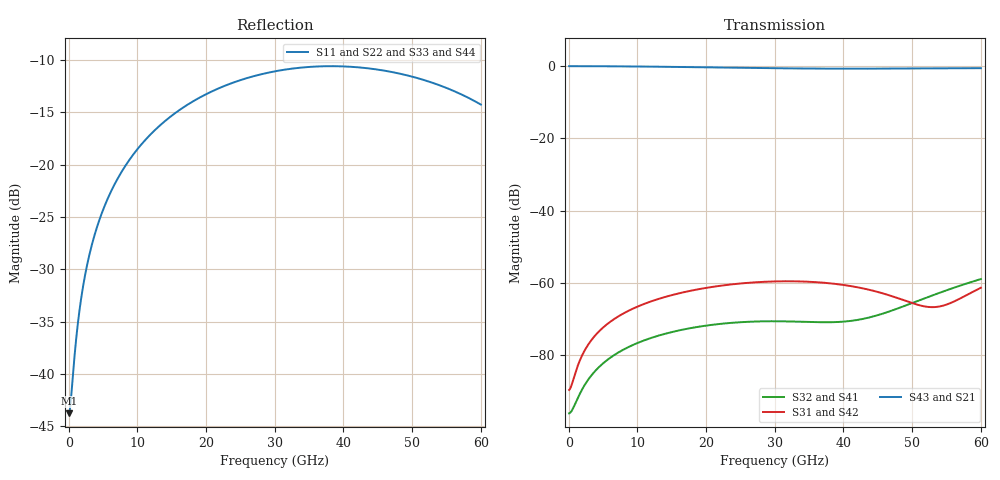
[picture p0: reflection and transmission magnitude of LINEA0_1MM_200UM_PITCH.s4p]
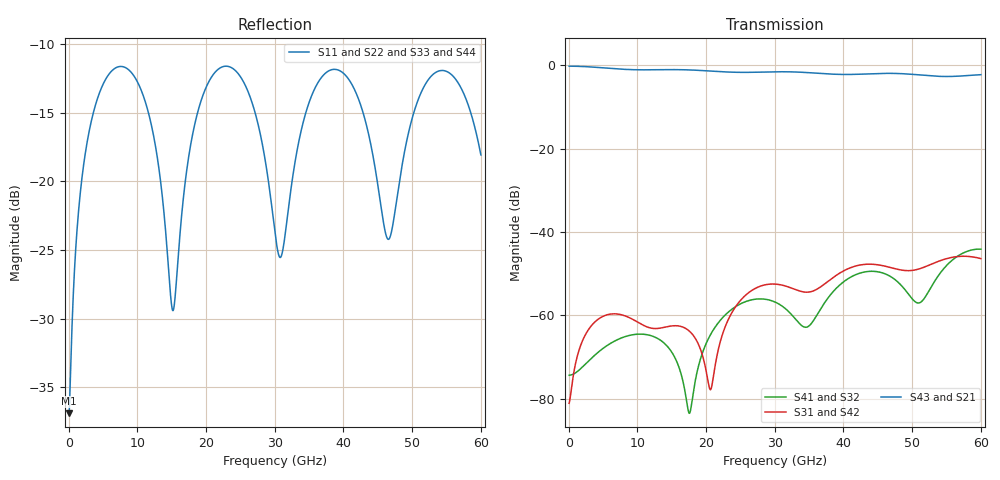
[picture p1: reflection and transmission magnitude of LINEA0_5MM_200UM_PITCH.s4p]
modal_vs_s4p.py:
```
"""FEXT/NEXT from the 30 GHz CST port-mode data (modes 5, 6 = CPW even/odd pair),
compared with the 3-D .s4p files. Assumptions: lossless, n_eff constant vs f,
per-line impedance = 2 x CST Z-line (mode spread over two lines), which of
mode 5/6 is even is unknown (the magnitudes below do not depend on it)."""
import numpy as np, matplotlib; matplotlib.use("Agg"); import matplotlib.pyplot as plt
from first_look_lib import load4
c=299792458; k30=2*np.pi*30e9/c
modes={"5":(1186.97/k30,2*17.3801),"6":(1186.02/k30,2*17.1815)}
def line2(f,n,Z,L,z0=50):
    t=np.exp(-2j*np.pi*f*n*L/c); r=(Z-z0)/(Z+z0)
    d=1-r**2*t**2; return r*(1-t**2)/d, (1-r**2)*t/d     # S11, S21
def xt(f,L,nshift=0.0,sameZ=False):
    (na,Za),(nb,Zb)=modes["5"],modes["6"]
    if sameZ: Za=Zb=(Za+Zb)/2
    s11a,s21a=line2(f,na+nshift,Za,L); s11b,s21b=line2(f,nb+nshift,Zb,L)
    return 0.5*(s11a-s11b), 0.5*(s21a-s21b), 0.5*(s21a+s21b)
db=lambda x:20*np.log10(np.abs(x)+1e-30)
cases=[("LINEA0_1MM_200UM_PITCH.s4p",1e-3),("LINEA0_5MM_200UM_PITCH.s4p",5e-3)]
fig,axs=plt.subplots(2,2,figsize=(12,8),sharex=True)
for j,(fn,L) in enumerate(cases):
    f,S=load4(fn); f=f[1:]; S=S[1:]
    nx,fx,th=xt(f,L); nx2,fx2,_=xt(f,L,sameZ=True)
    for i,(cst,mod,mod2,name) in enumerate([(S[:,2,0],nx,nx2,"NEXT |S31|"),(S[:,3,0],fx,fx2,"FEXT |S41|")]):
        a=axs[i,j]; a.plot(f/1e9,db(cst),"k",lw=2,label="CST 3-D .s4p")
        a.plot(f/1e9,db(mod),"C3",label="modal, CST Z-line difference (1.2 %)")
        a.plot(f/1e9,db(mod2),"C0--",label="modal, equal impedances (index difference only)")
        a.set_title(f"{name}, L = {L*1e3:.0f} mm"); a.set_ylim(-120,-20); a.grid(alpha=.3)
        for g in (10,30,60):
            k=np.argmin(abs(f-g*1e9)); print(f"{L*1e3:.0f}mm {name[:4]} {g}GHz CST {db(cst[k]):6.1f}  modal {db(mod[k]):6.1f}  sameZ {db(mod2[k]):6.1f}")
axs[0,0].legend(fontsize=8); [a.set_xlabel("GHz") for a in axs[1]]
fig.tight_layout(); fig.savefig("modal_vs_s4p.png",dpi=110)
```
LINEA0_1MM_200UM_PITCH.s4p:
! TOUCHSTONE file generated by CST MICROWAVE STUDIO
! Date and time: Wed Oct 14 10:40:22 2026
! Project name: LINEA0_1MM_200UM_PITCH.cst
! Parameters = {CHANNEL_PITCH=0.2; GAP=0.00415; L=1; L1=0.02; L2=0.086; L3=0.066; NCELL=1; PITCH=0.18; START_POSITION=0.08; W1=0.003; W2=0.004; W3=0.009; WG=0.04985; gap_oxr=0.00125; linbo3_thickness=0.0002; mtx=0.002; oxiDinE=0.0014; w=0.15; ws=0.035}
! Header version: 2024
! Port assignment regex: !\s*Touchstone port\s*([0-9]+)\s*=\s*(CST MWS port|CST DES external port|CST DES block port)\s*(.+)\s* \(\"(.*)\"\)(\s*mode\s*([0-9]+))?.*
! Touchstone port assignment:
! Touchstone port 1 = CST MWS port 1 ("")
! Touchstone port 2 = CST MWS port 2 ("")
! Touchstone port 3 = CST MWS port 3 ("")
! Touchstone port 4 = CST MWS port 4 ("")
# GHz S MA R 50
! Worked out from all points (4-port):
!   1000 points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, 60 MHz to 60 GHz, reference 50 ohm
!   strongest paths, dB at 60 MHz, 15.06 GHz, 30.06 GHz, 45.06 GHz, 60 GHz:
!     S43: -0.1, -0.3, -0.6, -0.7, -0.6
!     S21: -0.1, -0.3, -0.6, -0.7, -0.6
!     S31: -89.6, -63.4, -59.6, -62.6, -61.4
!     S42: -89.6, -63.4, -59.6, -62.6, -61.4
!     S32: -96.1, -73.6, -70.6, -68.9, -59.0
!     S41: -96.1, -73.6, -70.6, -68.9, -59.0
!   lowest |S11| = -43.7 dB at 60 MHz (marker M1), VSWR 1.01, Z = 50.6 - j0.0756 ohm
!   |S11| at or under -10 dB: start of sweep to end of sweep
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0.06  0.006495 -6.6  0.9921 -0.2  3.3e-05 4.9  1.566e-05 176.4
      0.9921 -0.2  0.006495 -6.6  1.566e-05 176.4  3.3e-05 4.9
      3.3e-05 4.9  1.566e-05 176.4  0.006485 -6.6  0.9921 -0.2
      1.566e-05 176.4  3.3e-05 4.9  0.9921 -0.2  0.006485 -6.6
15.36  0.175 -123.6  0.9694 -38.4  0.0006892 48.8  0.0002121 20.7
       0.9694 -38.4  0.175 -123.6  0.0002121 20.7  0.0006892 48.8
       0.0006892 48.8  0.0002121 20.7  0.1751 -123.6  0.9694 -38.4
       0.0002121 20.7  0.0006892 48.8  0.9694 -38.4  0.1751 -123.6
60  0.1937 137.7  0.9306 -141.3  0.0008552 27.8  0.001127 -105.1
    0.9306 -141.3  0.1937 137.7  0.001127 -105.1  0.0008552 27.8
    0.0008552 27.8  0.001127 -105.1  0.1939 137.7  0.9307 -141.2
    0.001127 -105.1  0.0008552 27.8  0.9307 -141.2  0.1939 137.7
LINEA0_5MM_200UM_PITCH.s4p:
! TOUCHSTONE file generated by CST MICROWAVE STUDIO
! Date and time: Thu Oct 15 09:16:29 2026
! Project name: LINEA0_5MM_200UM_PITCH.cst
! Parameters = {CHANNEL_PITCH=0.2; GAP=0.00415; L=5; L1=0.02; L2=0.086; L3=0.066; NCELL=1; PITCH=0.18; START_POSITION=0.08; W1=0.003; W2=0.004; W3=0.009; WG=0.04985; gap_oxr=0.00125; linbo3_thickness=0.0002; mtx=0.002; oxiDinE=0.0014; w=0.15; ws=0.035}
! Header version: 2024
! Port assignment regex: !\s*Touchstone port\s*([0-9]+)\s*=\s*(CST MWS port|CST DES external port|CST DES block port)\s*(.+)\s* \(\"(.*)\"\)(\s*mode\s*([0-9]+))?.*
! Touchstone port assignment:
! Touchstone port 1 = CST MWS port 1 ("")
! Touchstone port 2 = CST MWS port 2 ("")
! Touchstone port 3 = CST MWS port 3 ("")
! Touchstone port 4 = CST MWS port 4 ("")
# GHz S MA R 50
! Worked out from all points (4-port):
!   1000 points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, 60 MHz to 60 GHz, reference 50 ohm
!   strongest paths, dB at 60 MHz, 15.06 GHz, 30.06 GHz, 45.06 GHz, 60 GHz:
!     S43: -0.2, -1.0, -1.5, -1.9, -2.2
!     S21: -0.2, -1.0, -1.5, -2.0, -2.2
!     S31: -81.1, -62.5, -52.5, -47.9, -46.4
!     S42: -81.1, -62.5, -52.5, -47.9, -46.4
!     S41: -74.4, -69.0, -56.8, -49.6, -44.1
!     S32: -74.4, -69.0, -56.8, -49.6, -44.1
!   lowest |S11| = -36.9 dB at 60 MHz (marker M1), VSWR 1.03, Z = 51.4 - j0.352 ohm
!   |S11| at or under -10 dB: start of sweep to end of sweep
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0.06  0.01428 -13.9  0.9786 -0.8  8.818e-05 9.2  0.0001907 177.2
      0.9786 -0.8  0.01428 -13.9  0.0001907 177.2  8.818e-05 9.2
      8.81e-05 9.2  0.0001911 177.2  0.01426 -13.9  0.9786 -0.8
      0.0001911 177.2  8.81e-05 9.2  0.9786 -0.8  0.01426 -13.9
15.06  0.0343 176.1  0.8898 -178.9  0.0007479 -18.1  0.0003559 117.3
       0.8898 -178.9  0.0343 176.1  0.0003559 117.3  0.0007479 -18.1
       0.000748 -18.1  0.0003557 117.3  0.03434 175.7  0.89 -178.8
       0.0003557 117.3  0.000748 -18.1  0.89 -178.8  0.03434 175.7
60  0.125 146.1  0.7726 22.2  0.004802 -67.7  0.006239 -26.9
    0.7726 22.2  0.125 146.1  0.006239 -26.9  0.004802 -67.7
    0.004801 -67.7  0.006236 -26.9  0.1256 146.0  0.7733 22.3
    0.006236 -26.9  0.004801 -67.7  0.7733 22.3  0.1256 146.0
